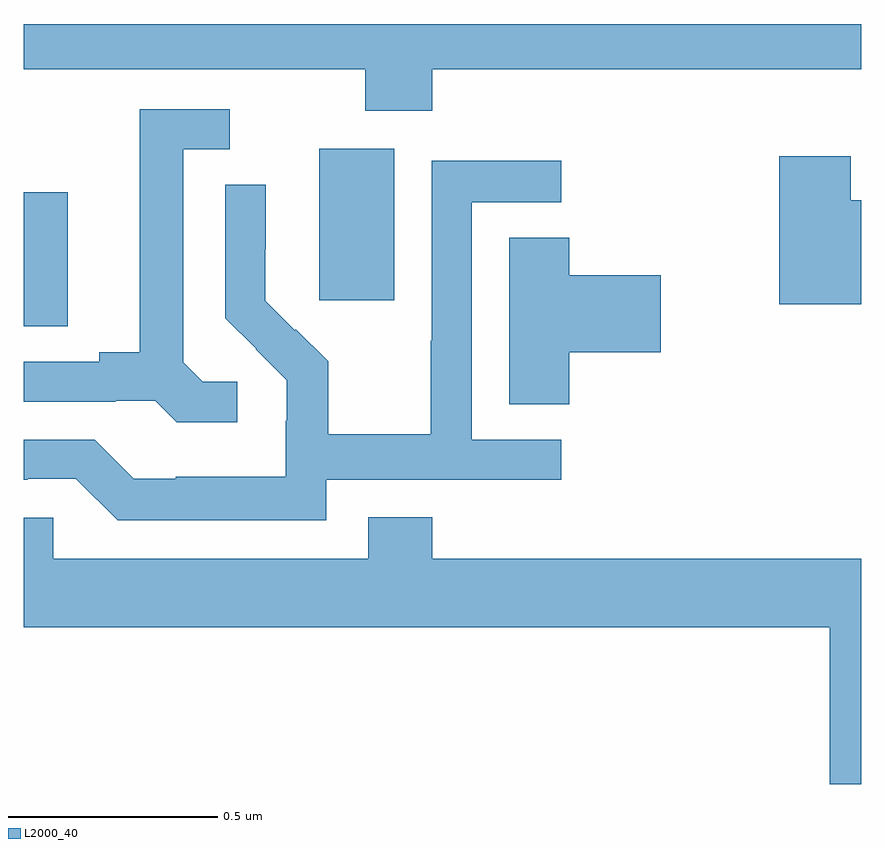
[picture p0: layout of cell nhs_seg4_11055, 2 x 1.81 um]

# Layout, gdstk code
import gdstk
lib = gdstk.Library(unit=1e-6, precision=1e-09)
def R(c, l, rs):  # rectangles x0, y0, x1, y1
    for r in rs: c.add(gdstk.rectangle(r[:2], r[2:], *l))
def P(c, l, *ps):  # polygons
    for p in ps: c.add(gdstk.Polygon(p, *l))
L2000_40 = (2000, 40)

nhs_seg4_11055 = lib.new_cell('nhs_seg4_11055')
R(nhs_seg4_11055, L2000_40, [(247,824.179,247.105,824.499), (247.706,824.241,247.885,824.602)])
P(nhs_seg4_11055, L2000_40, [(247.976,824.792),(249,824.792),(249,824.9),(247,824.9),(247,824.792),(247.816,824.792),(247.816,824.693),(247.976,824.693)],
  [(247.51,824.046),(247.428,824.046),(247.381,824.093),(247.381,824.601),(247.492,824.601),(247.492,824.697),(247.277,824.697),(247.277,824.117),(247.181,824.117),(247.181,824.094),(247,824.094),(247,823.998),(247.22,823.998),(247.22,824.001),(247.314,824.001),(247.366,823.949),(247.51,823.949)],
  [(249,824.479),(248.974,824.479),(248.974,824.584),(248.804,824.584),(248.804,824.231),(249,824.231)],
  [(247.722,823.812),(248.284,823.812),(248.284,823.908),(248.07,823.908),(248.07,824.475),(248.284,824.475),(248.284,824.574),(247.974,824.574),(247.974,824.144),(247.972,824.144),(247.972,823.921),(247.727,823.921),(247.727,824.095),(247.65,824.172),(247.647,824.169),(247.577,824.24),(247.577,824.362),(247.578,824.362),(247.578,824.516),(247.482,824.516),(247.482,824.198),(247.555,824.125),(247.554,824.124),(247.628,824.05),(247.628,823.953),(247.626,823.953),(247.626,823.819),(247.363,823.819),(247.363,823.815),(247.263,823.815),(247.17,823.908),(247,823.908),(247,823.812),(247.01,823.812),(247.01,823.815),(247.125,823.815),(247.225,823.715),(247.722,823.715)],
  [(248.303,824.117),(248.521,824.117),(248.521,824.3),(248.303,824.3),(248.303,824.39),(248.159,824.39),(248.159,823.993),(248.303,823.993)],
  [(249,823.624),(247.976,823.624),(247.976,823.723),(247.823,823.723),(247.823,823.624),(247.071,823.624),(247.071,823.722),(247,823.722),(247,823.46),(248.924,823.46),(248.924,823.086),(249,823.086)])

lib.write_gds('nhs_seg4_11055.gds')
